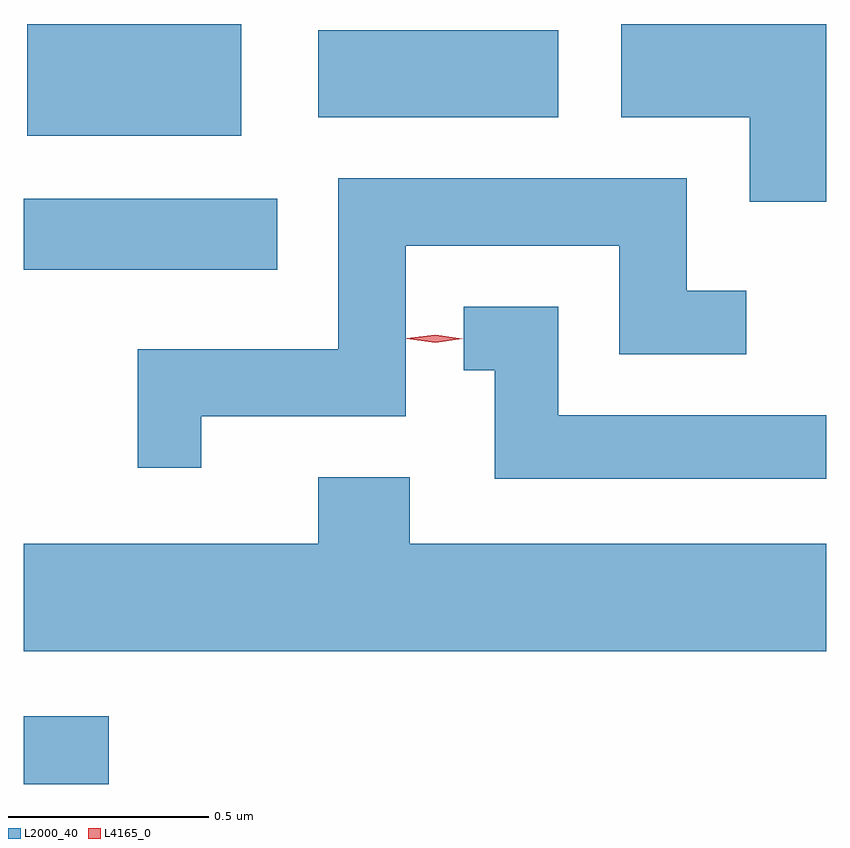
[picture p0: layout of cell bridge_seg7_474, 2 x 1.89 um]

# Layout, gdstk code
import gdstk
lib = gdstk.Library(unit=1e-6, precision=1e-09)
def R(c, l, rs):  # rectangles x0, y0, x1, y1
    for r in rs: c.add(gdstk.rectangle(r[:2], r[2:], *l))
def P(c, l, *ps):  # polygons
    for p in ps: c.add(gdstk.Polygon(p, *l))
L2000_40 = (2000, 40)
L4165_0 = (4165, 0)

bridge_seg7_474 = lib.new_cell('bridge_seg7_474')
R(bridge_seg7_474, L2000_40, [(1075.507,1682.905,1075.719,1683.074), (1075.507,1684.186,1076.139,1684.364), (1075.516,1684.521,1076.049,1684.799), (1076.241,1684.566,1076.839,1684.784)])
P(bridge_seg7_474, L2000_40, [(1077.507,1684.799),(1076.996,1684.799),(1076.996,1684.566),(1077.316,1684.566),(1077.316,1684.356),(1077.507,1684.356)],
  [(1075.949,1683.821),(1076.459,1683.821),(1076.459,1684.246),(1076.991,1684.246),(1076.991,1683.976),(1077.308,1683.976),(1077.308,1684.134),(1077.159,1684.134),(1077.159,1684.414),(1076.291,1684.414),(1076.291,1683.989),(1075.791,1683.989),(1075.791,1683.693),(1075.949,1683.693)],
  [(1077.507,1683.824),(1076.839,1683.824),(1076.839,1684.094),(1076.603,1684.094),(1076.603,1683.936),(1076.681,1683.936),(1076.681,1683.666),(1077.507,1683.666)],
  [(1077.507,1683.504),(1076.469,1683.504),(1076.469,1683.669),(1076.241,1683.669),(1076.241,1683.504),(1075.507,1683.504),(1075.507,1683.236),(1077.507,1683.236)])
P(bridge_seg7_474, L4165_0, [(1076.532,1684.005),(1076.462,1684.015),(1076.462,1684.016),(1076.462,1684.016),(1076.532,1684.025),(1076.601,1684.015),(1076.601,1684.015),(1076.601,1684.014)])

lib.write_gds('bridge_seg7_474.gds')
